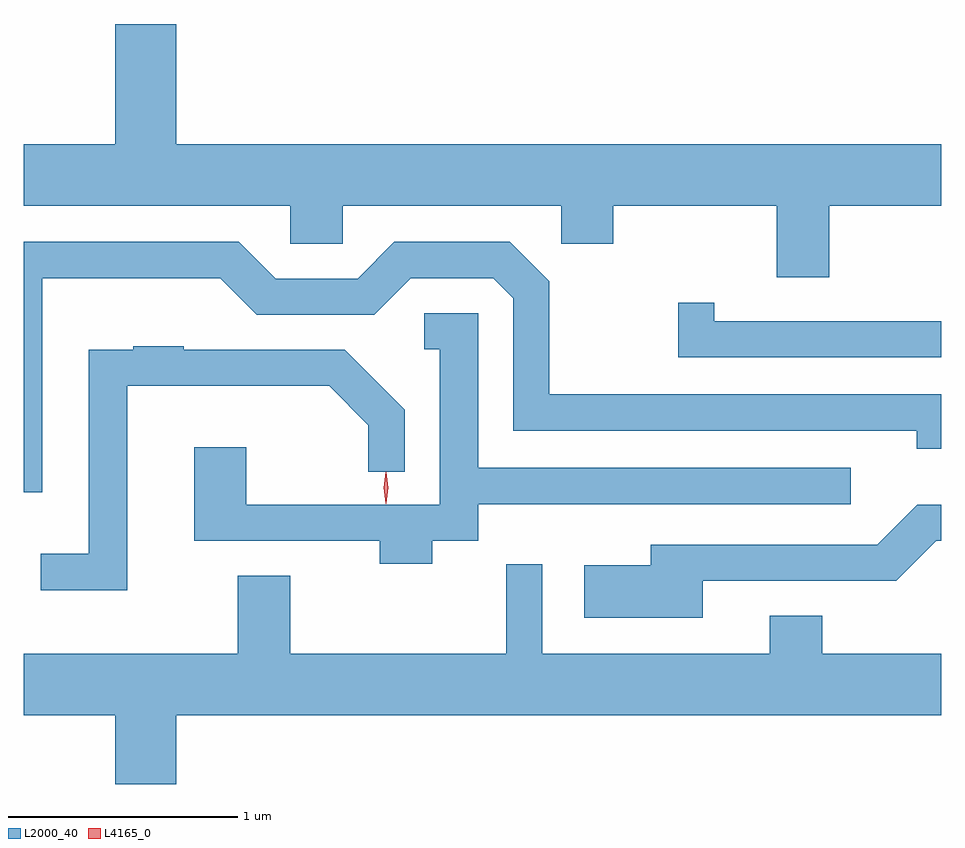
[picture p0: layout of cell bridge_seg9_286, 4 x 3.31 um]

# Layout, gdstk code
import gdstk
lib = gdstk.Library(unit=1e-6, precision=1e-09)
def P(c, l, *ps):  # polygons
    for p in ps: c.add(gdstk.Polygon(p, *l))
L2000_40 = (2000, 40)
L4165_0 = (4165, 0)

bridge_seg9_286 = lib.new_cell('bridge_seg9_286')
P(bridge_seg9_286, L2000_40, [(1037.369,2042.876),(1037.858,2042.876),(1037.858,2043.144),(1034.524,2043.144),(1034.524,2043.669),(1034.256,2043.669),(1034.256,2043.144),(1033.858,2043.144),(1033.858,2042.876),(1035.021,2042.876),(1035.021,2042.711),(1035.249,2042.711),(1035.249,2042.876),(1036.201,2042.876),(1036.201,2042.711),(1036.429,2042.711),(1036.429,2042.876),(1037.141,2042.876),(1037.141,2042.566),(1037.369,2042.566)],
  [(1033.939,2042.561),(1034.714,2042.561),(1034.873,2042.401),(1035.387,2042.401),(1035.546,2042.561),(1035.904,2042.561),(1035.991,2042.474),(1035.991,2041.896),(1037.751,2041.896),(1037.751,2041.818),(1037.858,2041.818),(1037.858,2042.054),(1036.149,2042.054),(1036.149,2042.547),(1035.977,2042.719),(1035.474,2042.719),(1035.314,2042.559),(1034.957,2042.559),(1034.796,2042.719),(1033.858,2042.719),(1033.858,2041.628),(1033.939,2041.628)],
  [(1037.858,2042.374),(1036.869,2042.374),(1036.869,2042.453),(1036.711,2042.453),(1036.711,2042.216),(1037.858,2042.216)],
  [(1035.639,2041.416),(1035.839,2041.416),(1035.839,2041.576),(1037.463,2041.576),(1037.463,2041.734),(1035.839,2041.734),(1035.839,2042.409),(1035.603,2042.409),(1035.603,2042.251),(1035.671,2042.251),(1035.671,2041.574),(1034.829,2041.574),(1034.829,2041.824),(1034.601,2041.824),(1034.601,2041.416),(1035.411,2041.416),(1035.411,2041.316),(1035.639,2041.316)],
  [(1034.309,2042.091),(1035.189,2042.091),(1035.361,2041.919),(1035.361,2041.718),(1035.519,2041.718),(1035.519,2041.987),(1035.257,2042.249),(1034.555,2042.249),(1034.555,2042.264),(1034.335,2042.264),(1034.335,2042.249),(1034.141,2042.249),(1034.141,2041.359),(1033.933,2041.359),(1033.933,2041.201),(1034.309,2041.201)],
  [(1036.819,2041.241),(1037.661,2041.241),(1037.837,2041.416),(1037.858,2041.416),(1037.858,2041.574),(1037.754,2041.574),(1037.579,2041.399),(1036.591,2041.399),(1036.591,2041.309),(1036.301,2041.309),(1036.301,2041.081),(1036.819,2041.081)],
  [(1034.524,2040.656),(1037.858,2040.656),(1037.858,2040.924),(1037.339,2040.924),(1037.339,2041.089),(1037.111,2041.089),(1037.111,2040.924),(1036.119,2040.924),(1036.119,2041.313),(1035.961,2041.313),(1035.961,2040.924),(1035.019,2040.924),(1035.019,2041.264),(1034.791,2041.264),(1034.791,2040.924),(1033.858,2040.924),(1033.858,2040.656),(1034.256,2040.656),(1034.256,2040.356),(1034.524,2040.356)])
P(bridge_seg9_286, L4165_0, [(1035.438,2041.577),(1035.437,2041.578),(1035.428,2041.647),(1035.437,2041.716),(1035.438,2041.717),(1035.438,2041.716),(1035.448,2041.647),(1035.438,2041.578)])

lib.write_gds('bridge_seg9_286.gds')
